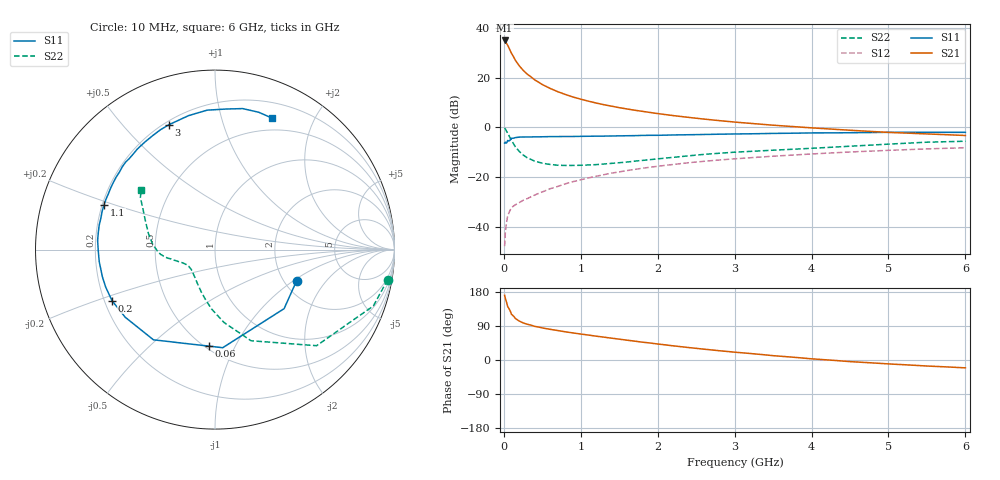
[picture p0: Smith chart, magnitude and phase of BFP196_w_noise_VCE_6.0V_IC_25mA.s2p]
! Infineon Technologies  Discrete & RF Semiconductors
! BFP196
! VCE =  6.0 V,  IC =  25 mA
! Common Emitter S-Parameters:  Jan 2017
# GHz  S  MA  R  50
!  f  S11  S21  S12  S22
! GHz  MAG  ANG  MAG  ANG  MAG  ANG  MAG  ANG
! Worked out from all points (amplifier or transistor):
!   77 points, 10 MHz to 6 GHz, reference 50 ohm
!   highest |S21| = 35.0 dB at 10 MHz (marker M1)
!   |S21| within 3 dB of that: start of sweep to 66.62 MHz
!   unconditionally stable (mu >= 1): 699.2 MHz to 2.378 GHz
!   at 130 MHz: K = 0.43, MSG = 29.9 dB, |S12| = -31.5 dB
!   at 2.2 GHz: K = 1.01, MAG = 9.2 dB, |S12| = -14.9 dB
!   at 6 GHz: K = 0.93, MSG = 2.5 dB, |S12| = -8.1 dB
!   lowest NFmin = 1.15 dB at 450 MHz
!   S11 on the Smith chart (normalised r, x): 10 MHz: 2.33, -1.06; 60 MHz: 0.52, -0.79; 200 MHz: 0.23, -0.22; 1.1 GHz: 0.21, +0.19; 3 GHz: 0.22, +0.67; 6 GHz: 0.36, +1.47
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0.01  0.4866 -21.0  56.35 170.7  0.0041 82.4  0.9763 -9.9
0.02  0.5065 -40.5  55.02 162.3  0.0079 79.9  0.9364 -19.6
0.05  0.5483 -85.5  45.09 140.9  0.0167 60.6  0.7792 -43.4
0.06  0.5389 -93.6  41.93 137.9  0.0182 57.8  0.7238 -47.1
0.1  0.6085 -124.3  30.97 120.4  0.0246 50.2  0.5462 -68.4
0.15  0.6263 -143.0  22.49 109.6  0.0279 46.1  0.4088 -83.0
0.2  0.6404 -153.6  17.48 102.8  0.0308 47.4  0.3308 -93.4
0.25  0.6439 -161.1  14.22 97.9  0.0343 48.5  0.2814 -101.1
0.3  0.6454 -166.4  11.97 94.5  0.0368 50.0  0.2483 -107.9
0.4  0.6485 -174.0  9.1 88.9  0.0437 54.2  0.211 -118.0
0.5  0.6507 -179.8  7.309 84.7  0.0506 56.2  0.1915 -125.8
0.6  0.656 175.5  6.127 81.0  0.0585 58.4  0.1808 -132.2
0.7  0.657 171.7  5.26 77.8  0.0652 59.6  0.1741 -137.1
0.9  0.6595 164.6  4.102 71.4  0.0815 60.3  0.1726 -144.3
1.1  0.6668 158.1  3.384 65.8  0.0967 59.9  0.1765 -149.8
1.5  0.6787 146.6  2.507 55.0  0.1279 57.5  0.1957 -158.0
2.1  0.7015 130.3  1.82 39.9  0.1731 51.1  0.2423 -166.7
3  0.7414 110.4  1.286 20.6  0.2343 40.5  0.3188 -177.9
3.1  0.7437 108.5  1.249 19.0  0.2402 39.3  0.3245 -179.5
4.1  0.7785 91.7  0.962 1.7  0.2989 27.8  0.3888 164.4
5.1  0.8002 77.6  0.786 -11.4  0.3518 16.3  0.4713 149.2
6  0.7986 66.4  0.691 -20.7  0.3929 6.2  0.5296 140.8
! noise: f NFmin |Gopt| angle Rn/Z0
0.45  1.15  0.34  164  0.05
0.9  1.34  0.45  -176  0.06
1.9  2.21  0.68  -136  0.24
2.4  2.64  0.71  -122  0.59
